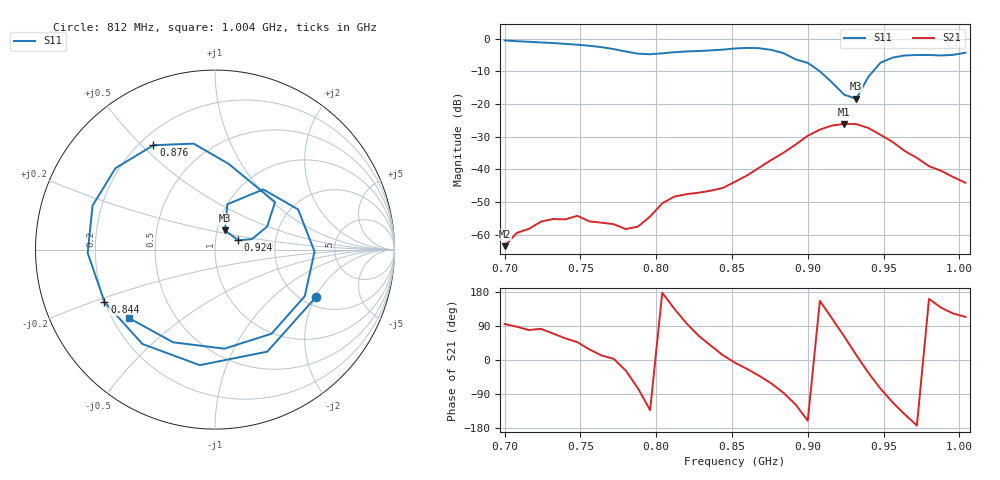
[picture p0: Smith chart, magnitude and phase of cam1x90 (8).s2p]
# Hz S RI R 50
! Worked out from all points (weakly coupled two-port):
!   39 points, 700 MHz to 1.004 GHz, reference 50 ohm
!   highest |S21| = -26.09 dB at 924 MHz (marker M1); lowest = -63.6 dB at 700 MHz (marker M2)
!   lowest |S11| = -18.4 dB at 932 MHz (marker M3), VSWR 1.27, Z = 54.6 + j11.8 ohm
!   |S11| at or under -10 dB: 908.1 MHz to 943.1 MHz (34.97 MHz wide, 3.78 % of centre)
!   S12 and S22 are empty: the file has one direction only
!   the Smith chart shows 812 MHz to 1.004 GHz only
!   S11 on the Smith chart (normalised r, x): 812 MHz: 2.36, -2.03; 844 MHz: 0.20, -0.22; 876 MHz: 0.25, +0.54; 924 MHz: 1.29, +0.14; 1.004 GHz: 0.27, -0.33
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7e8  0.7625 0.5529  -5.76e-05 0.000661  0 0  0 0
7.24e8  0.8422 -0.2477  0.000215 0.00156  0 0  0 0
7.4e8  0.457 -0.6983  0.000924 0.00144  0 0  0 0
7.56e8  -0.1883 -0.7584  0.00141 0.000744  0 0  0 0
7.72e8  -0.6638 -0.2051  0.00144 7.84e-05  0 0  0 0
7.8e8  -0.5996 0.2166  0.00107 -0.000572  0 0  0 0
7.88e8  -0.259 0.5311  0.000341 -0.00128  0 0  0 0
7.96e8  0.2258 0.533  -0.00127 -0.0014  0 0  0 0
8.04e8  0.5653 0.1947  -0.00301 0.000128  0 0  0 0
8.12e8  0.5639 -0.263  -0.00271 0.00269  0 0  0 0
8.28e8  -0.0846 -0.6438  0.00192 0.00394  0 0  0 0
8.44e8  -0.6159 -0.2916  0.00505 0.00113  0 0  0 0
8.52e8  -0.7094 -0.0184  0.00639 -0.000801  0 0  0 0
8.76e8  -0.3428 0.5816  0.00653 -0.0123  0 0  0 0
9e8  0.3345 0.2648  -0.0307 -0.011  0 0  0 0
9.08e8  0.2905 0.1281  -0.0371 0.0164  0 0  0 0
9.24e8  0.1292 0.0519  0.0229 0.044  0 0  0 0
9.32e8  0.0556 0.1066  0.048 0.0113  0 0  0 0
9.48e8  0.2689 0.3354  0.00832 -0.0327  0 0  0 0
9.56e8  0.463 0.2238  -0.00978 -0.0243  0 0  0 0
9.8e8  0.315 -0.4687  -0.0106 0.00358  0 0  0 0
1.004e9  -0.4776 -0.3822  -0.00252 0.00569  0 0  0 0
